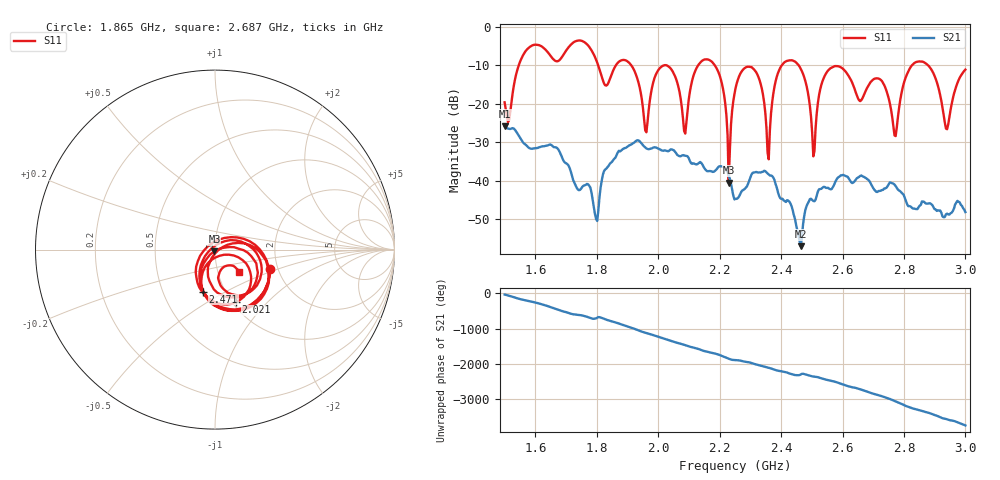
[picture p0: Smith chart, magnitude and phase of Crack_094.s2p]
# HZ S RI R 50
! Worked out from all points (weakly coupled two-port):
!   404 points, 1.5 GHz to 3 GHz, reference 50 ohm
!   highest |S21| = -25.84 dB at 1.5 GHz (marker M1); lowest = -57.0 dB at 2.464 GHz (marker M2)
!   lowest |S11| = -40.5 dB at 2.23 GHz (marker M3), VSWR 1.02, Z = 49.7 - j0.881 ohm
!   |S11| at or under -10 dB: 1.912 GHz to 2.13 GHz (218.6 MHz wide, 10.8 % of centre); 2.184 GHz to 2.403 GHz (219.3 MHz wide, 9.56 % of centre); 2.457 GHz to 2.827 GHz (369.8 MHz wide, 14 % of centre) (the widest 3 of 6)
!   S12 and S22 are empty: the file has one direction only
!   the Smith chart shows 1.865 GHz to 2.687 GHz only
!   S11 on the Smith chart (normalised r, x): 1.865 GHz: 1.81, -0.44; 2.021 GHz: 1.04, -0.68; 2.471 GHz: 0.79, -0.39; 2.687 GHz: 1.26, -0.32
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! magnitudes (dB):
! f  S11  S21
! 1.5 GHz  -19.6  -25.8
! 1.753 GHz  -3.8  -41.6
! 1.865 GHz  -9.8  -33.3
! 1.962 GHz  -27.4  -31.6
! 2.002 GHz  -11.0  -31.7
! 2.021 GHz  -10.0  -32.1
! 2.088 GHz  -27.8  -33.5
! 2.177 GHz  -9.3  -37.7
! 2.23 GHz  -40.5  -38.6
! 2.252 GHz  -15.9  -44.7
! 2.315 GHz  -11.4  -37.8
! 2.36 GHz  -34.4  -38.4
! 2.397 GHz  -10.7  -44.5
! 2.464 GHz  -10.9  -57.0
! 2.471 GHz  -12.3  -51.3
! 2.501 GHz  -27.6  -45.0
! 2.561 GHz  -10.8  -42.2
! 2.687 GHz  -14.9  -40.0
! 2.751 GHz  -18.7  -40.8
! 2.866 GHz  -9.3  -45.5
! 2.94 GHz  -26.6  -48.5
! 3 GHz  -11.2  -48.1
